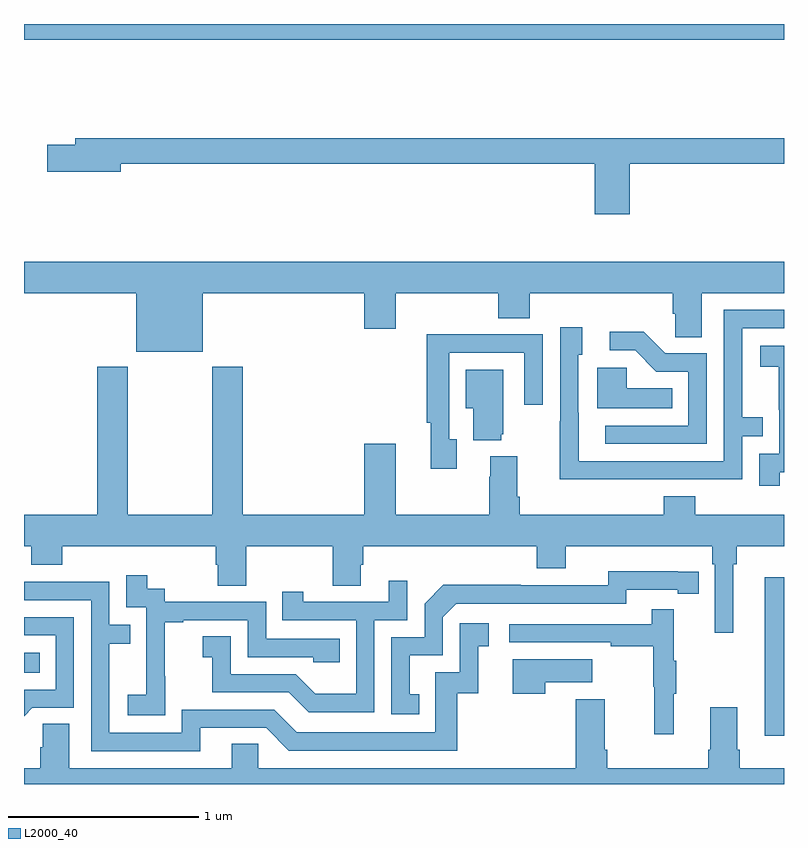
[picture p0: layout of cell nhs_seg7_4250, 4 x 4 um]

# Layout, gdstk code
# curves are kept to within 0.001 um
import gdstk
lib = gdstk.Library(unit=1e-6, precision=1e-09)
def R(c, l, rs):  # rectangles x0, y0, x1, y1
    for r in rs: c.add(gdstk.rectangle(r[:2], r[2:], *l))
def P(c, l, *ps):  # polygons
    for p in ps: c.add(gdstk.Polygon(p, *l))
L2000_40 = (2000, 40)

nhs_seg7_4250 = lib.new_cell('nhs_seg7_4250')
R(nhs_seg7_4250, L2000_40, [(382.898,1030.254,383,1031.089), (379,1030.586,379.082,1030.69), (379,1033.916,383,1034)])
P(nhs_seg7_4250, L2000_40, [(382.187,1033.264),(383,1033.264),(383,1033.4),(379.271,1033.4),(379.271,1033.364),(379.122,1033.364),(379.122,1033.222),(379.51,1033.222),(379.51,1033.264),(382.004,1033.264),(382.004,1032.999),(382.187,1032.999)],
  [(379.942,1032.584),(380.792,1032.584),(380.792,1032.396),(380.956,1032.396),(380.956,1032.584),(381.497,1032.584),(381.497,1032.451),(381.662,1032.451),(381.662,1032.584),(382.415,1032.584),(382.415,1032.475),(382.428,1032.475),(382.428,1032.352),(382.567,1032.352),(382.567,1032.584),(383,1032.584),(383,1032.748),(379,1032.748),(379,1032.584),(379.592,1032.584),(379.592,1032.275),(379.942,1032.275)],
  [(382.283,1031.604),(382.779,1031.604),(382.779,1031.829),(382.889,1031.829),(382.889,1031.93),(382.779,1031.93),(382.779,1032.399),(383,1032.399),(383,1032.495),(382.683,1032.495),(382.683,1031.7),(381.919,1031.7),(381.919,1031.954),(381.918,1031.954),(381.918,1032.258),(381.937,1032.258),(381.937,1032.403),(381.822,1032.403),(381.822,1031.909),(381.82,1031.909),(381.82,1031.603),(382.283,1031.603)],
  [(382.593,1032.267),(382.374,1032.267),(382.261,1032.38),(382.083,1032.38),(382.083,1032.282),(382.217,1032.282),(382.328,1032.171),(382.497,1032.171),(382.497,1031.886),(382.059,1031.886),(382.059,1031.79),(382.593,1031.79)],
  [(381.277,1031.814),(381.237,1031.814),(381.237,1032.27),(381.633,1032.27),(381.633,1031.997),(381.729,1031.997),(381.729,1032.366),(381.413,1032.366),(381.413,1032.368),(381.121,1032.368),(381.121,1031.902),(381.14,1031.902),(381.14,1031.658),(381.277,1031.658)],
  [(382.978,1031.641),(383,1031.641),(383,1032.307),(382.875,1032.307),(382.875,1032.197),(382.973,1032.197),(382.973,1031.969),(382.974,1031.969),(382.974,1031.739),(382.869,1031.739),(382.869,1031.571),(382.978,1031.571)],
  [(382.732,1031.156),(382.751,1031.156),(382.751,1031.252),(383,1031.252),(383,1031.416),(382.532,1031.416),(382.532,1031.515),(382.367,1031.515),(382.367,1031.416),(381.608,1031.416),(381.608,1031.512),(381.595,1031.512),(381.595,1031.725),(381.455,1031.725),(381.455,1031.618),(381.448,1031.618),(381.448,1031.416),(380.956,1031.416),(380.956,1031.791),(380.792,1031.791),(380.792,1031.416),(380.15,1031.416),(380.15,1032.196),(379.99,1032.196),(379.99,1031.416),(379.545,1031.416),(379.545,1032.196),(379.385,1032.196),(379.385,1031.416),(379,1031.416),(379,1031.252),(379.037,1031.252),(379.037,1031.153),(379.202,1031.153),(379.202,1031.252),(380.009,1031.252),(380.009,1031.154),(380.021,1031.154),(380.021,1031.044),(380.169,1031.044),(380.169,1031.252),(380.626,1031.252),(380.626,1031.044),(380.773,1031.044),(380.773,1031.154),(380.786,1031.154),(380.786,1031.252),(381.698,1031.252),(381.698,1031.135),(381.85,1031.135),(381.85,1031.252),(382.622,1031.252),(382.622,1031.156),(382.635,1031.156),(382.635,1030.797),(382.732,1030.797)],
  [(382.412,1032.082),(382.173,1032.082),(382.173,1032.19),(382.016,1032.19),(382.016,1031.978),(382.412,1031.978)],
  [(381.512,1031.841),(381.523,1031.841),(381.523,1032.181),(381.326,1032.181),(381.326,1031.978),(381.365,1031.978),(381.365,1031.81),(381.512,1031.81)],
  [(381.08,1030.473),(381.031,1030.473),(381.031,1030.677),(381.204,1030.677),(381.204,1030.878),(381.276,1030.95),(382.17,1030.95),(382.17,1031.022),(382.442,1031.022),(382.442,1031.002),(382.55,1031.002),(382.55,1031.118),(382.074,1031.119),(382.074,1031.046),(381.614,1031.046),(381.614,1031.048),(381.206,1031.048),(381.108,1030.95),(381.108,1030.773),(380.934,1030.773),(380.934,1030.368),(381.08,1030.368)],
  [(379.743,1030.567),(379.742,1030.567),(379.742,1030.851),(379.837,1030.851),(379.837,1030.863),(380.178,1030.863),(380.178,1030.668),(380.523,1030.668),(380.523,1030.641),(380.663,1030.641),(380.663,1030.764),(380.274,1030.764),(380.274,1030.959),(379.74,1030.959),(379.74,1031.028),(379.648,1031.028),(379.648,1031.098),(379.539,1031.098),(379.539,1030.929),(379.644,1030.929),(379.644,1030.7),(379.643,1030.7),(379.643,1030.471),(379.545,1030.471),(379.545,1030.361),(379.743,1030.361)],
  [(380.844,1030.863),(381.018,1030.863),(381.018,1031.071),(380.921,1031.071),(380.921,1030.959),(380.47,1030.959),(380.47,1031.011),(380.359,1031.011),(380.359,1030.863),(380.748,1030.863),(380.748,1030.474),(380.534,1030.474),(380.43,1030.578),(380.088,1030.578),(380.088,1030.777),(379.941,1030.777),(379.941,1030.667),(379.99,1030.667),(379.99,1030.482),(380.393,1030.482),(380.498,1030.377),(380.844,1030.377)],
  [(379.927,1030.296),(380.274,1030.296),(380.394,1030.176),(381.281,1030.176),(381.281,1030.478),(381.392,1030.478),(381.392,1030.725),(381.445,1030.725),(381.445,1030.846),(381.294,1030.846),(381.294,1030.587),(381.165,1030.587),(381.165,1030.272),(380.436,1030.272),(380.316,1030.392),(379.83,1030.392),(379.83,1030.269),(379.449,1030.269),(379.449,1030.738),(379.559,1030.738),(379.559,1030.839),(379.449,1030.839),(379.449,1031.064),(379,1031.064),(379,1030.968),(379.353,1030.968),(379.353,1030.173),(379.927,1030.173)],
  [(382.421,1030.475),(382.432,1030.475),(382.432,1030.649),(382.421,1030.649),(382.421,1030.921),(382.303,1030.921),(382.303,1030.842),(381.555,1030.842),(381.555,1030.746),(382.087,1030.746),(382.087,1030.726),(382.311,1030.726),(382.311,1030.512),(382.318,1030.512),(382.318,1030.263),(382.421,1030.263)],
  [(379.044,1030.401),(379.263,1030.401),(379.263,1030.878),(379,1030.878),(379,1030.782),(379.167,1030.782),(379.167,1030.497),(379,1030.497),(379,1030.357)],
  [(381.743,1030.535),(381.991,1030.535),(381.991,1030.657),(381.572,1030.657),(381.572,1030.476),(381.743,1030.476)],
  [(381.905,1030.447),(381.905,1030.084),(380.232,1030.084),(380.232,1030.211),(380.093,1030.211),(380.093,1030.084),(379.237,1030.084),(379.237,1030.316),(379.098,1030.316),(379.098,1030.193),(379.085,1030.193),(379.085,1030.084),(379,1030.084),(379,1030),(383,1030),(383,1030.084),(382.766,1030.084),(382.766,1030.18),(382.753,1030.18),(382.753,1030.405),(382.613,1030.405),(382.613,1030.18),(382.601,1030.18),(382.601,1030.084),(382.07,1030.084),(382.07,1030.18),(382.057,1030.18),(382.057,1030.447)])

lib.write_gds('nhs_seg7_4250.gds')
